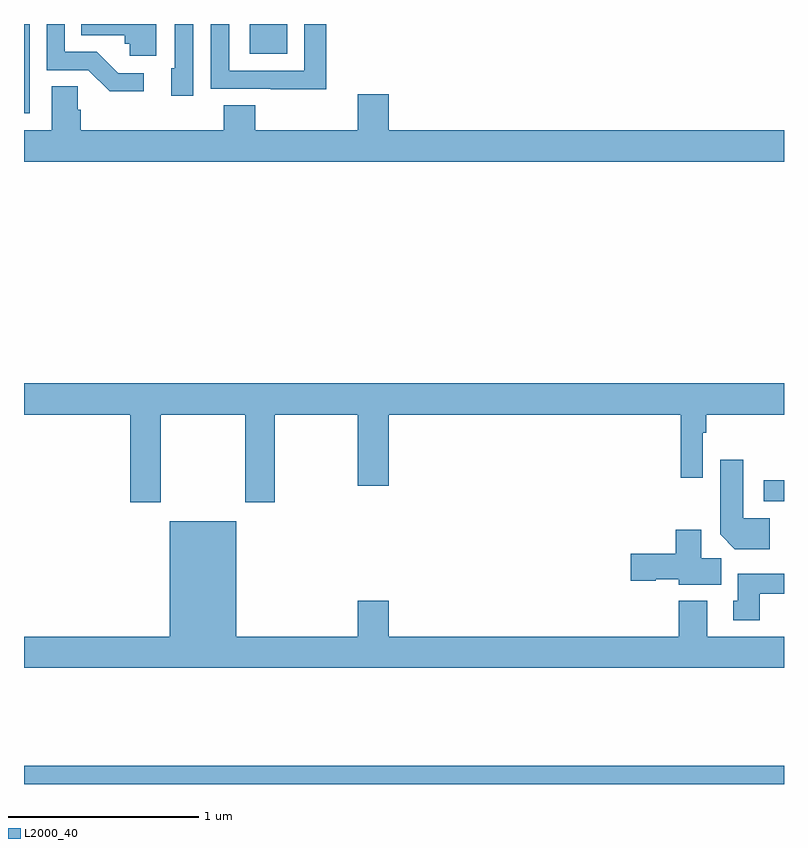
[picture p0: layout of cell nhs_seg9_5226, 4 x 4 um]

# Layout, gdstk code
import gdstk
lib = gdstk.Library(unit=1e-6, precision=1e-09)
def R(c, l, rs):  # rectangles x0, y0, x1, y1
    for r in rs: c.add(gdstk.rectangle(r[:2], r[2:], *l))
def P(c, l, *ps):  # polygons
    for p in ps: c.add(gdstk.Polygon(p, *l))
L2000_40 = (2000, 40)

nhs_seg9_5226 = lib.new_cell('nhs_seg9_5226')
R(nhs_seg9_5226, L2000_40, [(415,1170.5,419,1170.596), (418.893,1171.989,419,1172.098), (415,1174.029,415.029,1174.5), (416.189,1174.343,416.386,1174.5)])
P(nhs_seg9_5226, L2000_40, [(415.696,1174.5),(415.3,1174.5),(415.3,1174.442),(415.531,1174.442),(415.531,1174.395),(415.557,1174.395),(415.557,1174.334),(415.696,1174.334)],
  [(415.63,1174.242),(415.495,1174.242),(415.384,1174.353),(415.215,1174.353),(415.215,1174.5),(415.119,1174.5),(415.119,1174.257),(415.338,1174.257),(415.451,1174.145),(415.63,1174.145)],
  [(416.591,1174.5),(416.475,1174.5),(416.475,1174.254),(416.079,1174.254),(416.079,1174.5),(415.983,1174.5),(415.983,1174.158),(416.299,1174.158),(416.299,1174.157),(416.591,1174.157)],
  [(415.89,1174.5),(415.794,1174.5),(415.794,1174.266),(415.775,1174.266),(415.775,1174.122),(415.89,1174.122)],
  [(419,1173.94),(416.92,1173.94),(416.92,1174.129),(416.756,1174.129),(416.756,1173.94),(416.216,1173.94),(416.216,1174.073),(416.051,1174.073),(416.051,1173.94),(415.298,1173.94),(415.298,1174.049),(415.284,1174.049),(415.284,1174.172),(415.145,1174.172),(415.145,1173.94),(415,1173.94),(415,1173.776),(419,1173.776)],
  [(415.719,1172.444),(416.164,1172.444),(416.164,1171.983),(416.319,1171.983),(416.319,1172.444),(416.756,1172.444),(416.756,1172.07),(416.92,1172.07),(416.92,1172.444),(418.456,1172.444),(418.456,1172.112),(418.572,1172.112),(418.572,1172.348),(418.592,1172.348),(418.592,1172.444),(419,1172.444),(419,1172.608),(415,1172.608),(415,1172.444),(415.559,1172.444),(415.559,1171.983),(415.719,1171.983)],
  [(418.925,1171.9),(418.786,1171.9),(418.786,1172.206),(418.664,1172.206),(418.664,1171.814),(418.742,1171.736),(418.925,1171.736)],
  [(419,1171.276),(418.597,1171.276),(418.597,1171.465),(418.445,1171.465),(418.445,1171.276),(416.92,1171.276),(416.92,1171.465),(416.756,1171.465),(416.756,1171.276),(416.116,1171.276),(416.116,1171.882),(415.766,1171.882),(415.766,1171.276),(415,1171.276),(415,1171.112),(419,1171.112)],
  [(418.669,1171.688),(418.564,1171.688),(418.564,1171.837),(418.43,1171.837),(418.43,1171.712),(418.194,1171.712),(418.194,1171.57),(418.326,1171.57),(418.326,1171.577),(418.446,1171.577),(418.446,1171.55),(418.669,1171.55)],
  [(418.873,1171.502),(419,1171.502),(419,1171.606),(418.757,1171.606),(418.757,1171.464),(418.733,1171.464),(418.733,1171.362),(418.873,1171.362)])

lib.write_gds('nhs_seg9_5226.gds')
